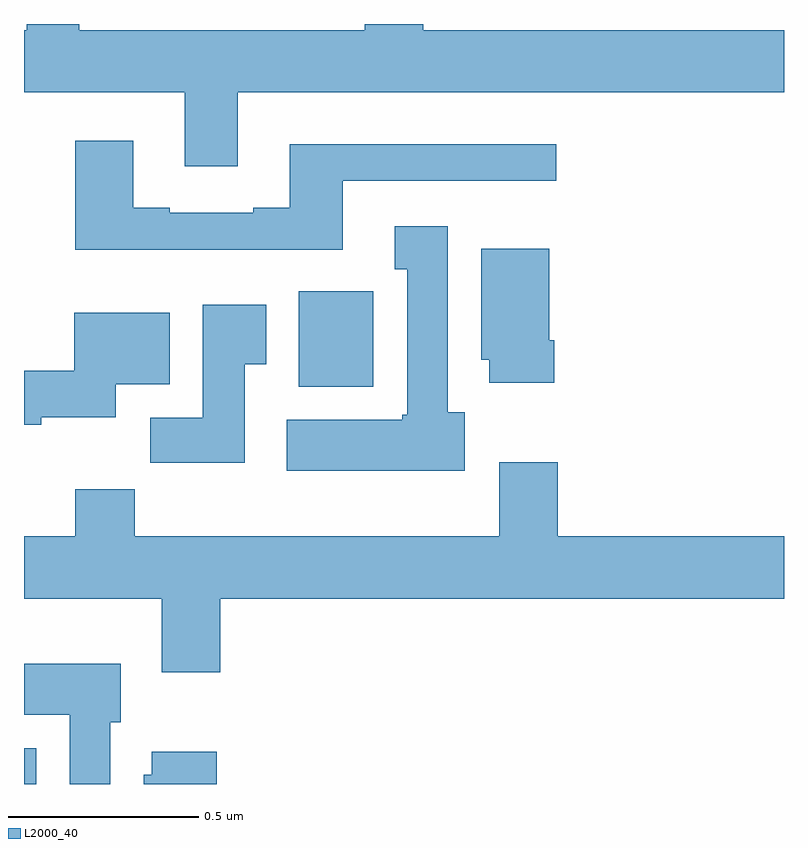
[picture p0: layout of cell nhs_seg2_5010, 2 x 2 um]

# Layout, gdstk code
import gdstk
lib = gdstk.Library(unit=1e-6, precision=1e-09)
def R(c, l, rs):  # rectangles x0, y0, x1, y1
    for r in rs: c.add(gdstk.rectangle(r[:2], r[2:], *l))
def P(c, l, *ps):  # polygons
    for p in ps: c.add(gdstk.Polygon(p, *l))
L2000_40 = (2000, 40)

nhs_seg2_5010 = lib.new_cell('nhs_seg2_5010')
R(nhs_seg2_5010, L2000_40, [(173,661.8,173.032,661.894), (173.723,662.846,173.919,663.097)])
P(nhs_seg2_5010, L2000_40, [(173.145,663.8),(173.007,663.8),(173.007,663.784),(173,663.784),(173,663.62),(173.423,663.62),(173.423,663.426),(173.563,663.426),(173.563,663.62),(175,663.62),(175,663.784),(174.05,663.784),(174.05,663.8),(173.897,663.8),(173.897,663.784),(173.145,663.784)],
  [(173.839,663.387),(174.4,663.387),(174.4,663.484),(173.699,663.484),(173.699,663.316),(173.603,663.316),(173.603,663.303),(173.383,663.303),(173.383,663.316),(173.287,663.316),(173.287,663.493),(173.135,663.493),(173.135,663.206),(173.839,663.206)],
  [(174.16,662.778),(174.115,662.778),(174.115,663.268),(173.975,663.268),(173.975,663.155),(174.008,663.155),(174.008,662.772),(173.995,662.772),(173.995,662.758),(173.691,662.758),(173.691,662.624),(174.16,662.624)],
  [(174.395,662.968),(174.382,662.968),(174.382,663.208),(174.203,663.208),(174.203,662.916),(174.224,662.916),(174.224,662.856),(174.395,662.856)],
  [(173.581,662.905),(173.638,662.905),(173.638,663.061),(173.471,663.061),(173.471,662.764),(173.332,662.764),(173.332,662.646),(173.581,662.646)],
  [(173.046,662.765),(173.242,662.765),(173.242,662.852),(173.383,662.852),(173.383,663.04),(173.132,663.04),(173.132,662.888),(173,662.888),(173,662.746),(173.046,662.746)],
  [(173.516,662.288),(175,662.288),(175,662.452),(174.404,662.452),(174.404,662.647),(174.251,662.647),(174.251,662.452),(173.291,662.452),(173.291,662.576),(173.135,662.576),(173.135,662.452),(173,662.452),(173,662.288),(173.363,662.288),(173.363,662.094),(173.516,662.094)],
  [(173.227,661.962),(173.254,661.962),(173.254,662.116),(173,662.116),(173,661.982),(173.12,661.982),(173.12,661.8),(173.227,661.8)],
  [(173.507,661.885),(173.336,661.885),(173.336,661.824),(173.315,661.824),(173.315,661.8),(173.507,661.8)])

lib.write_gds('nhs_seg2_5010.gds')
